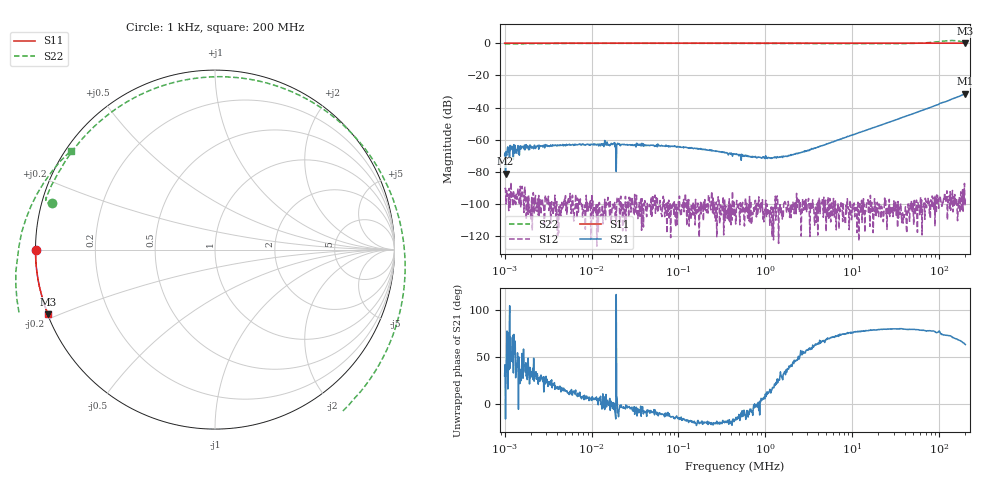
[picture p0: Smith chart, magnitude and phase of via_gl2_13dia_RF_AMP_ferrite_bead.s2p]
! ListType=Log
# MHZ S RI R 50
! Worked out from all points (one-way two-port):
!   1000 points, 1 kHz to 200 MHz, reference 50 ohm
!   highest |S21| = -31.44 dB at 200 MHz (marker M1); lowest = -81.1 dB at 1.025 kHz (marker M2)
!   lowest |S11| = 0.0 dB at 200 MHz (marker M3), VSWR 644.82, Z = 0.0803 - j9.36 ohm
!   |S11| at or under -10 dB: nowhere
!   |S22| runs from -0.5 to 1.7 dB; largest |S21 - S12| = 0.027
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0.001  -0.998 -0.000411  0.000296 0.000173  -1.15e-05 -2.99e-05  -0.9089 0.26
0.0010247  -0.9989 -0.000922  8.49e-05 -2.36e-05  -1.57e-05 2.66e-05  -0.9096 0.2591
0.0011439  -0.9983 -0.000549  -7.15e-05 0.000267  1.9e-05 -2e-06  -0.9121 0.2591
0.0015909  -0.9985 -0.000857  0.00036 0.000501  1e-05 -3.45e-05  -0.92 0.2576
0.0076941  -0.9998 -0.000307  0.000702 7.5e-05  -2.1e-06 8.4e-06  -0.9422 0.2759
0.0584804  -0.9998 -5.46e-05  0.000674 -0.000144  1.1e-06 -7.5e-06  -0.9406 0.2882
0.4499541  -0.9998 -0.000844  0.000338 -9.76e-05  1.8e-06 7.1e-06  -0.9349 0.303
1.195845  -0.9997 -0.00225  0.000259 7.87e-05  9e-07 4e-07  -0.9238 0.3284
3.419952  -0.9997 -0.00658  0.000274 0.000454  -1.8e-06 -7.2e-06  -0.8867 0.4028
12.03851  -0.9996 -0.0229  0.000357 0.00164  -7.5e-06 -3e-07  -0.7122 0.6466
26.31347  -0.9989 -0.0497  0.000608 0.00345  3.6e-06 -3.5e-06  -0.3118 0.9064
38.43037  -0.9975 -0.0723  0.000856 0.00497  1.2e-06 -2.3e-06  0.0882 0.9611
50.9003  -0.9956 -0.0956  0.00117 0.00646  -1e-07 -2.3e-06  0.4925 0.8486
64.99008  -0.9927 -0.1217  0.0016 0.00817  6e-06 -3.9e-06  0.8567 0.5339
81.97236  -0.9882 -0.153  0.00219 0.0103  5.3e-06 -7.1e-06  1.057 -0.0223
103.3922  -0.981 -0.1921  0.00341 0.0133  -9.6e-06 -1.12e-05  0.8402 -0.7545
116.8291  -0.9757 -0.2164  0.00424 0.0144  1.25e-05 -4.9e-06  0.4616 -1.075
128.8255  -0.9704 -0.2378  0.00475 0.0159  -1.25e-05 -1.01e-05  0.0311 -1.195
145.5678  -0.9617 -0.268  0.00619 0.0181  5.8e-06 -1.22e-05  -0.5687 -1.06
164.4859  -0.9521 -0.3005  0.00785 0.0202  4.6e-06 -3.3e-06  -1.028 -0.5582
179.1732  -0.9429 -0.325  0.00922 0.022  -1.87e-05 -8.8e-06  -1.102 -0.0581
200  -0.9294 -0.3606  0.0118 0.024  -1.29e-05 -6.6e-06  -0.8026 0.5506
